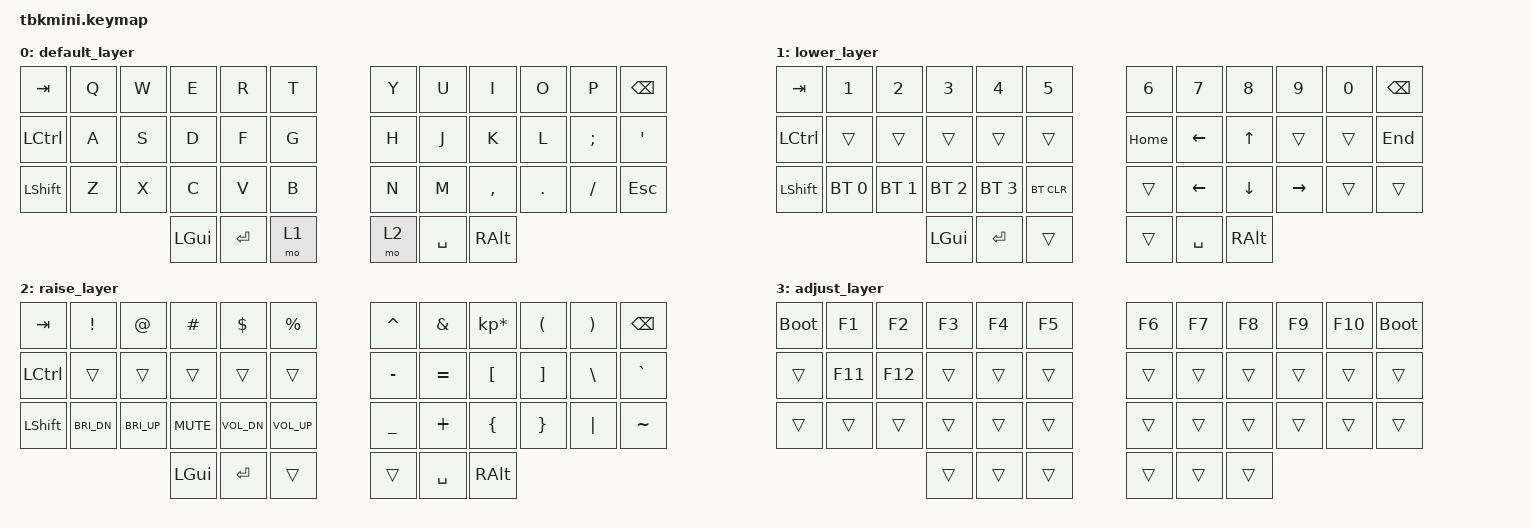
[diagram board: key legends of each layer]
/*
 * Copyright (c) 2020 The ZMK Contributors
 *
 * SPDX-License-Identifier: MIT
 */

#include <behaviors.dtsi>
#include <dt-bindings/zmk/keys.h>
#include <dt-bindings/zmk/bt.h>

/ {

        conditional_layers {
            compatible = "zmk,conditional-layers";

            adjust {
                if-layers = <1 2>;
                then-layer = <3>;
            };
        };

        keymap {
                compatible = "zmk,keymap";

                default_layer {
// -----------------------------------------------------------------------------------------
// |  TAB |  Q  |  W  |  E  |  R  |  T  |   |  Y  |  U   |  I  |  O  |  P  | BKSP |
// | CTRL |  A  |  S  |  D  |  F  |  G  |   |  H  |  J   |  K  |  L  |  ;  |  '   |
// | SHFT |  Z  |  X  |  C  |  V  |  B  |   |  N  |  M   |  ,  |  .  |  /  | ESC  |
//                    | GUI | ENT | LWR |   | RSE | SPC  | ALT |
                        bindings = <
   &kp TAB   &kp Q &kp W &kp E &kp R &kp T   &kp Y &kp U  &kp I     &kp O   &kp P    &kp BSPC
   &kp LCTRL &kp A &kp S &kp D &kp F &kp G   &kp H &kp J  &kp K     &kp L   &kp SEMI &kp SQT
   &kp LSHFT &kp Z &kp X &kp C &kp V &kp B   &kp N &kp M  &kp COMMA &kp DOT &kp FSLH &kp ESC
                     &kp LGUI &kp RET &mo 1   &mo 2 &kp SPACE &kp RALT
                        >;
                };
                lower_layer {
// -----------------------------------------------------------------------------------------
// |  TAB |  1  |  2  |  3  |  4  |   5   |   |  6   |  7  |  8  |  9  |  0  | BKSP |
// | CTRL |     |     |     |     |       |   | HOME |     |  UP |     |     | END  |
// | SHFT | BT1 | BT2 | BT3 | BT4 | BTCLR |   |      | LFT | DWN | RGT |     |      |
//                    | GUI | SPC |       |   |      | ENT | ALT |
                        bindings = <
   &kp TAB    &kp N1       &kp N2       &kp N3       &kp N4       &kp N5         &kp N6   &kp N7    &kp N8    &kp N9     &kp N0  &kp BSPC
   &kp LCTRL  &trans       &trans       &trans       &trans       &trans         &kp HOME &kp LEFT  &kp UP    &trans     &trans  &kp END
   &kp LSHFT  &bt BT_SEL 0 &bt BT_SEL 1 &bt BT_SEL 2 &bt BT_SEL 3 &bt BT_CLR     &trans   &kp LEFT  &kp DOWN  &kp RIGHT  &trans  &trans
                                            &kp LGUI      &kp RET       &trans   &trans   &kp SPACE  &kp RALT
                        >;
                };

                raise_layer {
// -----------------------------------------------------------------------------------------
// |  TAB |  !  |  @  |  #   |  $   |  %   |   |  ^  |  &  |  *  |  (  |  )  | BKSP |
// | CTRL |     |     |      |      |      |   |  -  |  =  |  [  |  ]  |  \  |  `   | 
// | SHFT | BR+ | BR- | VOLx | VOL- | VOL+ |   |  _  |  +  |  {  |  }  | "|" |  ~   |
//                    | GUI  | ENT  |      |   |     | SPC | ALT |
                        bindings = <
   &kp  TAB  &kp EXCL      &kp AT        &kp HASH    &kp DLLR      &kp PRCNT      &kp CARET &kp AMPS  &kp KP_MULTIPLY &kp LPAR &kp RPAR &kp BSPC
   &kp LCTRL &trans        &trans        &trans      &trans        &trans         &kp MINUS &kp EQUAL &kp LBKT        &kp RBKT &kp BSLH &kp GRAVE
   &kp LSHFT &kp C_BRI_DN  &kp C_BRI_UP  &kp C_MUTE  &kp C_VOL_DN  &kp C_VOL_UP   &kp UNDER &kp PLUS  &kp LBRC        &kp RBRC &kp PIPE &kp TILDE
                      &kp LGUI      &kp RET       &trans   &trans   &kp SPACE  &kp RALT
                        >;
                };

                adjust_layer {
                        bindings = <
   &bootloader  &kp F1  &kp F2  &kp F3  &kp F4  &kp F5      &kp F6  &kp F7  &kp F8  &kp F9  &kp F10  &bootloader
   &trans       &kp F11 &kp F12 &trans  &trans  &trans      &trans  &trans  &trans  &trans  &trans   &trans
   &trans       &trans  &trans  &trans  &trans  &trans      &trans  &trans  &trans  &trans  &trans   &trans
                                &trans  &trans  &trans      &trans  &trans  &trans
                        >;
                };
        };
};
